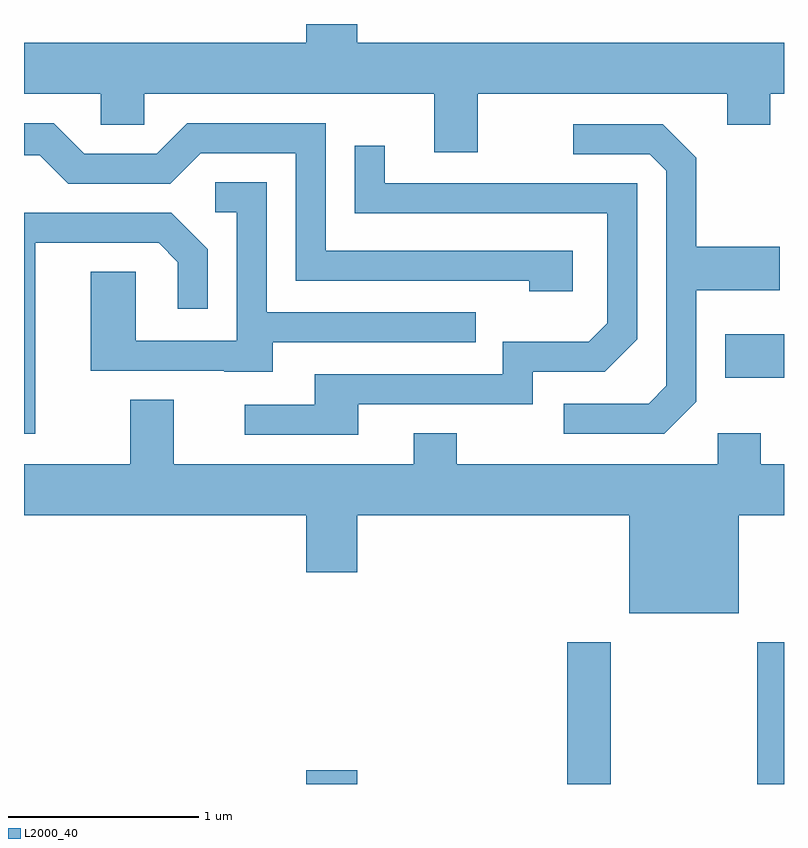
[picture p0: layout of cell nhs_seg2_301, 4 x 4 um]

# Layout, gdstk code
import gdstk
lib = gdstk.Library(unit=1e-6, precision=1e-09)
def R(c, l, rs):  # rectangles x0, y0, x1, y1
    for r in rs: c.add(gdstk.rectangle(r[:2], r[2:], *l))
def P(c, l, *ps):  # polygons
    for p in ps: c.add(gdstk.Polygon(p, *l))
L2000_40 = (2000, 40)

nhs_seg2_301 = lib.new_cell('nhs_seg2_301')
R(nhs_seg2_301, L2000_40, [(195.096,1035.802,195.364,1035.874), (196.471,1035.802,196.699,1036.549), (197.471,1035.802,197.611,1036.549), (197.301,1037.941,197.611,1038.169)])
P(nhs_seg2_301, L2000_40, [(195.999,1039.436),(197.311,1039.436),(197.311,1039.271),(197.539,1039.271),(197.539,1039.436),(197.611,1039.436),(197.611,1039.704),(195.364,1039.704),(195.364,1039.802),(195.096,1039.802),(195.096,1039.704),(193.611,1039.704),(193.611,1039.436),(194.016,1039.436),(194.016,1039.271),(194.244,1039.271),(194.244,1039.436),(195.771,1039.436),(195.771,1039.126),(195.999,1039.126)],
  [(196.499,1038.609),(195.199,1038.609),(195.199,1039.279),(194.469,1039.279),(194.309,1039.119),(193.927,1039.119),(193.767,1039.279),(193.611,1039.279),(193.611,1039.111),(193.694,1039.111),(193.844,1038.961),(194.382,1038.961),(194.542,1039.121),(195.041,1039.121),(195.041,1038.451),(196.271,1038.451),(196.271,1038.396),(196.499,1038.396)],
  [(197.149,1037.814),(197.149,1038.401),(197.589,1038.401),(197.589,1038.629),(197.149,1038.629),(197.149,1039.097),(196.972,1039.274),(196.503,1039.274),(196.503,1039.116),(196.904,1039.116),(196.991,1039.029),(196.991,1037.897),(196.899,1037.804),(196.453,1037.804),(196.453,1037.646),(196.982,1037.646)],
  [(195.369,1037.801),(196.289,1037.801),(196.289,1037.971),(196.667,1037.971),(196.839,1038.144),(196.839,1038.964),(195.509,1038.964),(195.509,1039.162),(195.351,1039.162),(195.351,1038.806),(196.681,1038.806),(196.681,1038.227),(196.584,1038.129),(196.131,1038.129),(196.131,1037.959),(195.141,1037.959),(195.141,1037.799),(194.773,1037.799),(194.773,1037.641),(195.369,1037.641)],
  [(194.919,1038.126),(195.988,1038.126),(195.988,1038.284),(194.889,1038.284),(194.889,1038.969),(194.618,1038.969),(194.618,1038.811),(194.731,1038.811),(194.731,1038.134),(194.199,1038.134),(194.199,1038.499),(193.961,1038.499),(193.961,1037.976),(194.665,1037.976),(194.665,1037.971),(194.919,1037.971)],
  [(193.669,1038.651),(194.319,1038.651),(194.421,1038.549),(194.421,1038.303),(194.579,1038.303),(194.579,1038.617),(194.387,1038.809),(193.611,1038.809),(193.611,1037.646),(193.669,1037.646)],
  [(197.374,1037.216),(197.611,1037.216),(197.611,1037.484),(197.489,1037.484),(197.489,1037.649),(197.261,1037.649),(197.261,1037.484),(195.889,1037.484),(195.889,1037.649),(195.661,1037.649),(195.661,1037.484),(194.399,1037.484),(194.399,1037.824),(194.171,1037.824),(194.171,1037.484),(193.611,1037.484),(193.611,1037.216),(195.096,1037.216),(195.096,1036.916),(195.364,1036.916),(195.364,1037.216),(196.796,1037.216),(196.796,1036.701),(197.374,1036.701)])

lib.write_gds('nhs_seg2_301.gds')
